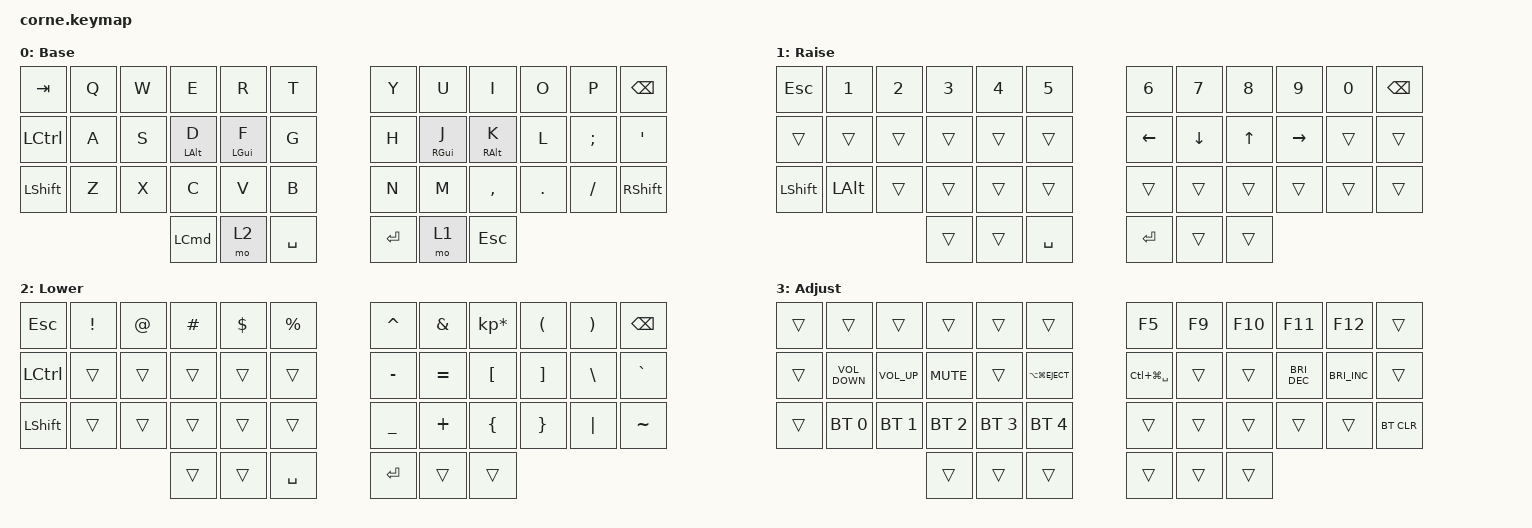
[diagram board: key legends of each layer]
/*
 * Copyright (c) 2020 The ZMK Contributors
 *
 * SPDX-License-Identifier: MIT
 */

#include <behaviors.dtsi>
#include <dt-bindings/zmk/bt.h>
#include <dt-bindings/zmk/keys.h>

/ {
    behaviors {
        pht: positional_hold_tap {
            compatible = "zmk,behavior-hold-tap";
            #binding-cells = <2>;
            flavor = "tap-preferred";
            tapping-term-ms = <400>;
            quick-tap-ms = <200>;
            require-prior-idle-ms = <125>;
            bindings = <&kp>, <&kp>;
        };
    };

    keymap {
        compatible = "zmk,keymap";

        default_layer {
            // -----------------------------------------------------------------------------------------
            // | TAB  |  Q  |  W  |  E    |  R    |  T  |   |  Y  |  U     |  I     |  O  |  P  | BKSP |
            // | CTRL |  A  |  S  | D/ALT | F/GUI |  G  |   |  H  |  J/GUI |  K/ALT |  L  |  ;  |  '   |
            // | SHFT |  Z  |  X  |  C    |  V    |  B  |   |  N  |  M     |  ,     |  .  |  /  | ESC  |
            //                    | GUI   | LWR   | SPC |   | ENT | RSE    | ALT    |

            display-name = "Base";
            bindings = <
&kp TAB    &kp Q  &kp W  &kp E        &kp R            &kp T        &kp Y    &kp U             &kp I        &kp O    &kp P     &kp BSPC
&kp LCTRL  &kp A  &kp S  &pht LALT D  &pht LEFT_GUI F  &kp G        &kp H    &pht RIGHT_GUI J  &pht RALT K  &kp L    &kp SEMI  &kp SQT
&kp LSHFT  &kp Z  &kp X  &kp C        &kp V            &kp B        &kp N    &kp M             &kp COMMA    &kp DOT  &kp FSLH  &kp RSHFT
                         &kp LCMD     &mo 2            &kp SPACE    &kp RET  &mo 1             &kp ESC
            >;
        };

        raise_layer {
            // -----------------------------------------------------------------------------------------
            // | ESC  |  1  |  2  |  3  |  4  |  5  |   |  6  |  7  |  8  |  9  |  0  | BKSP |
            // | BTCLR| BT1 | BT2 | BT3 | BT4 | BT5 |   | LFT | DWN |  UP | RGT |     |      |
            // | SHFT |     |     |     |     |     |   |     |     |     |     |     |      |
            //                    | GUI |     | SPC |   | ENT |     | ALT |

            display-name = "Raise";
            bindings = <
&kp ESCAPE  &kp N1        &kp N2  &kp N3  &kp N4  &kp N5       &kp N6    &kp N7    &kp N8  &kp N9     &kp N0  &kp BSPC
&trans      &trans        &trans  &trans  &trans  &trans       &kp LEFT  &kp DOWN  &kp UP  &kp RIGHT  &trans  &trans
&kp LSHFT   &kp LEFT_ALT  &trans  &trans  &trans  &trans       &trans    &trans    &trans  &trans     &trans  &trans
                                  &trans  &trans  &kp SPACE    &kp RET   &trans    &trans
            >;
        };

        lower_layer {
            // -----------------------------------------------------------------------------------------
            // | TAB  |  !  |  @  |  #  |  $  |  %  |   |  ^  |  &  |  *  |  (  |  )  | BKSP |
            // | CTRL |     |     |     |     |     |   |  -  |  =  |  [  |  ]  |  \  |  `   |
            // | SHFT |     |     |     |     |     |   |  _  |  +  |  {  |  }  | "|" |  ~   |
            //                    | GUI |     | SPC |   | ENT |     | ALT |

            display-name = "Lower";
            bindings = <
&kp ESCAPE  &kp EXCL  &kp AT  &kp HASH  &kp DLLR  &kp PRCNT    &kp CARET  &kp AMPS   &kp KP_MULTIPLY  &kp LPAR  &kp RPAR  &kp BSPC
&kp LCTRL   &trans    &trans  &trans    &trans    &trans       &kp MINUS  &kp EQUAL  &kp LBKT         &kp RBKT  &kp BSLH  &kp GRAVE
&kp LSHFT   &trans    &trans  &trans    &trans    &trans       &kp UNDER  &kp PLUS   &kp LBRC         &kp RBRC  &kp PIPE  &kp TILDE
                              &trans    &trans    &kp SPACE    &kp RET    &trans     &trans
            >;
        };

        adjust {
            // -----------------------------------------------------------------------------------------
            // |      |      |      |      |     |     |   | F5  | F9 | F10 | F11  | F12  |      |
            // |      | VOL- | VOL+ | MUTE |     | SLP |   | JP  |    |     | BRI+ | BRI- |      |
            // |      |      |      |      |     |     |   |     |    |     |      |      |      |
            //                      | GUI  |     | SPC |   | ENT |    | ALT |

            display-name = "Adjust";
            bindings = <
&trans  &trans             &trans           &trans        &trans        &trans                 &kp F5             &kp F9  &kp F10  &kp F11               &kp F12               &trans
&trans  &kp C_VOLUME_DOWN  &kp C_VOLUME_UP  &kp C_MUTE    &trans        &kp LA(LG(C_EJECT))    &kp LC(LG(SPACE))  &trans  &trans   &kp C_BRIGHTNESS_DEC  &kp C_BRIGHTNESS_INC  &trans
&trans  &bt BT_SEL 0       &bt BT_SEL 1     &bt BT_SEL 2  &bt BT_SEL 3  &bt BT_SEL 4           &trans             &trans  &trans   &trans                &trans                &bt BT_CLR
                                            &trans        &trans        &trans                 &trans             &trans  &trans
            >;
        };
    };

    conditional_layers {
        compatible = "zmk,conditional-layers";

        Adjust {
            if-layers = <1 2>;
            then-layer = <3>;
        };
    };
};
